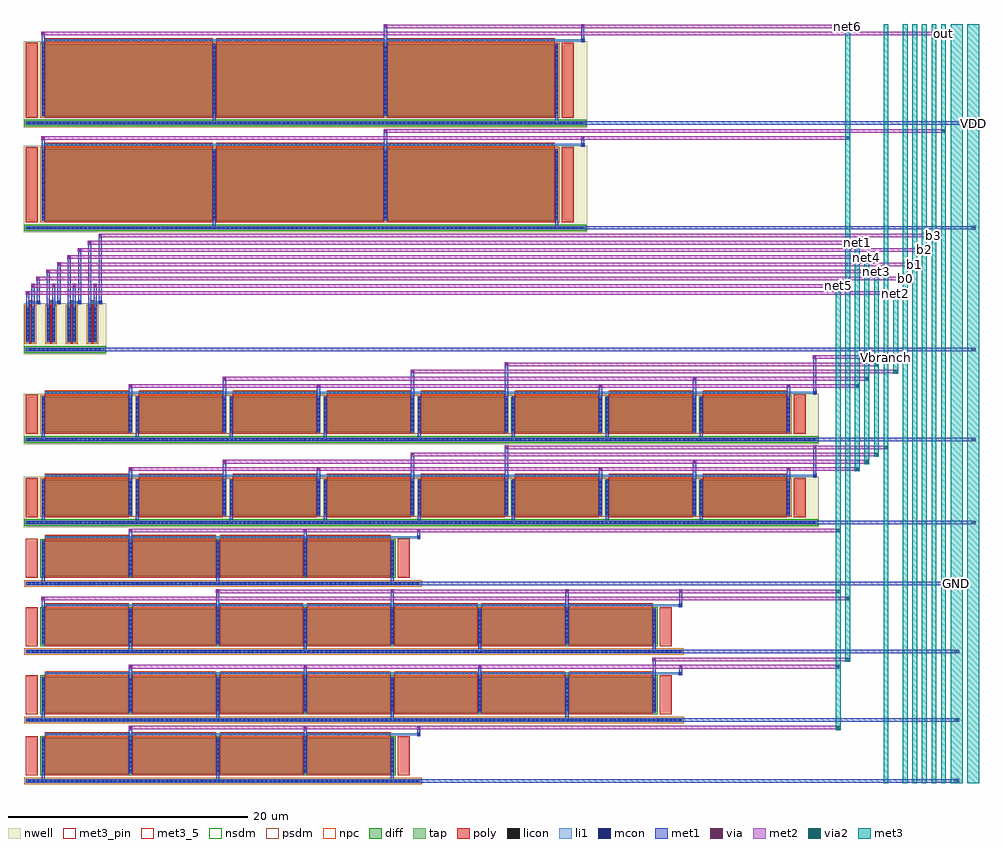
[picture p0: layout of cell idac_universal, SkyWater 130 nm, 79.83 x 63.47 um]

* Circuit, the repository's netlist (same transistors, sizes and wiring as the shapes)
* NGSPICE file created from idac_universal.ext - technology: sky130A

.subckt idac_universal VDD b1 b3 b2 b0 Vbranch GND out
X0 net6 net6 VDD VDD sky130_fd_pr__pfet_01v8 ad=0.87 pd=6.29 as=0.87 ps=6.29 w=6 l=14
X1 net5 net5 GND GND sky130_fd_pr__nfet_01v8 ad=0.435 pd=3.29 as=0.87 ps=6.58 w=3 l=7
X2 net5 net5 GND GND sky130_fd_pr__nfet_01v8 ad=0.435 pd=3.29 as=0.435 ps=3.29 w=3 l=7
X3 GND net5 net5 GND sky130_fd_pr__nfet_01v8 ad=0.435 pd=3.29 as=0.435 ps=3.29 w=3 l=7
X4 GND net5 net5 GND sky130_fd_pr__nfet_01v8 ad=0.87 pd=6.58 as=0.435 ps=3.29 w=3 l=7
X5 net5 net5 GND GND sky130_fd_pr__nfet_01v8 ad=0.435 pd=3.29 as=0.435 ps=3.29 w=3 l=7
X6 GND net5 net5 GND sky130_fd_pr__nfet_01v8 ad=0.87 pd=6.58 as=0.435 ps=3.29 w=3 l=7
X7 net1 Vbranch VDD VDD sky130_fd_pr__pfet_01v8 ad=0.87 pd=6.58 as=0.87 ps=6.58 w=3 l=7
X8 net3 Vbranch VDD VDD sky130_fd_pr__pfet_01v8 ad=0.87 pd=6.58 as=0.87 ps=6.58 w=3 l=7
X9 net1 Vbranch VDD VDD sky130_fd_pr__pfet_01v8 ad=0.87 pd=6.58 as=0.87 ps=6.58 w=3 l=7
X10 net5 net5 GND GND sky130_fd_pr__nfet_01v8 ad=0.435 pd=3.29 as=0.435 ps=3.29 w=3 l=7
X11 net5 net5 GND GND sky130_fd_pr__nfet_01v8 ad=0.435 pd=3.29 as=0.435 ps=3.29 w=3 l=7
X12 net5 b2 net4 VDD sky130_fd_pr__pfet_01v8 ad=0.87 pd=6.58 as=0.87 ps=6.58 w=3 l=0.15
X13 net1 Vbranch VDD VDD sky130_fd_pr__pfet_01v8 ad=0.87 pd=6.58 as=0.87 ps=6.58 w=3 l=7
X14 net1 Vbranch VDD VDD sky130_fd_pr__pfet_01v8 ad=0.87 pd=6.58 as=0.87 ps=6.58 w=3 l=7
X15 out net6 VDD VDD sky130_fd_pr__pfet_01v8 ad=0.87 pd=6.29 as=0.87 ps=6.29 w=6 l=14
X16 GND net5 net5 GND sky130_fd_pr__nfet_01v8 ad=0.435 pd=3.29 as=0.435 ps=3.29 w=3 l=7
X17 GND net5 net5 GND sky130_fd_pr__nfet_01v8 ad=0.435 pd=3.29 as=0.435 ps=3.29 w=3 l=7
X18 net6 net5 GND GND sky130_fd_pr__nfet_01v8 ad=0.87 pd=6.58 as=0.435 ps=3.29 w=3 l=7
X19 net1 Vbranch VDD VDD sky130_fd_pr__pfet_01v8 ad=0.87 pd=6.58 as=0.87 ps=6.58 w=3 l=7
X20 net5 net5 GND GND sky130_fd_pr__nfet_01v8 ad=0.435 pd=3.29 as=0.435 ps=3.29 w=3 l=7
X21 net3 Vbranch VDD VDD sky130_fd_pr__pfet_01v8 ad=0.87 pd=6.58 as=0.87 ps=6.58 w=3 l=7
X22 net1 Vbranch VDD VDD sky130_fd_pr__pfet_01v8 ad=0.87 pd=6.58 as=0.87 ps=6.58 w=3 l=7
X23 net5 b1 net3 VDD sky130_fd_pr__pfet_01v8 ad=0.87 pd=6.58 as=0.87 ps=6.58 w=3 l=0.15
X24 net4 Vbranch VDD VDD sky130_fd_pr__pfet_01v8 ad=0.87 pd=6.58 as=0.87 ps=6.58 w=3 l=7
X25 net4 Vbranch VDD VDD sky130_fd_pr__pfet_01v8 ad=0.87 pd=6.58 as=0.87 ps=6.58 w=3 l=7
X26 GND net5 net5 GND sky130_fd_pr__nfet_01v8 ad=0.435 pd=3.29 as=0.435 ps=3.29 w=3 l=7
X27 net1 Vbranch VDD VDD sky130_fd_pr__pfet_01v8 ad=0.87 pd=6.58 as=0.87 ps=6.58 w=3 l=7
X28 GND net5 net6 GND sky130_fd_pr__nfet_01v8 ad=0.435 pd=3.29 as=0.87 ps=6.58 w=3 l=7
X29 GND net5 net5 GND sky130_fd_pr__nfet_01v8 ad=0.435 pd=3.29 as=0.435 ps=3.29 w=3 l=7
X30 net5 b0 net2 VDD sky130_fd_pr__pfet_01v8 ad=0.87 pd=6.58 as=0.87 ps=6.58 w=3 l=0.15
X31 VDD net6 net6 VDD sky130_fd_pr__pfet_01v8 ad=1.74 pd=12.58 as=0.87 ps=6.29 w=6 l=14
X32 VDD net6 net6 VDD sky130_fd_pr__pfet_01v8 ad=0.87 pd=6.29 as=1.74 ps=12.58 w=6 l=14
X33 Vbranch Vbranch VDD VDD sky130_fd_pr__pfet_01v8 ad=0.87 pd=6.58 as=0.87 ps=6.58 w=3 l=7
X34 GND net5 net5 GND sky130_fd_pr__nfet_01v8 ad=0.87 pd=6.58 as=0.435 ps=3.29 w=3 l=7
X35 net5 net5 GND GND sky130_fd_pr__nfet_01v8 ad=0.435 pd=3.29 as=0.87 ps=6.58 w=3 l=7
X36 GND net5 net5 GND sky130_fd_pr__nfet_01v8 ad=0.435 pd=3.29 as=0.435 ps=3.29 w=3 l=7
X37 net4 Vbranch VDD VDD sky130_fd_pr__pfet_01v8 ad=0.87 pd=6.58 as=0.87 ps=6.58 w=3 l=7
X38 net4 Vbranch VDD VDD sky130_fd_pr__pfet_01v8 ad=0.87 pd=6.58 as=0.87 ps=6.58 w=3 l=7
X39 net5 b3 net1 VDD sky130_fd_pr__pfet_01v8 ad=0.87 pd=6.58 as=0.87 ps=6.58 w=3 l=0.15
X40 net5 net5 GND GND sky130_fd_pr__nfet_01v8 ad=0.435 pd=3.29 as=0.87 ps=6.58 w=3 l=7
X41 net5 net5 GND GND sky130_fd_pr__nfet_01v8 ad=0.435 pd=3.29 as=0.435 ps=3.29 w=3 l=7
X42 net5 net5 GND GND sky130_fd_pr__nfet_01v8 ad=0.435 pd=3.29 as=0.435 ps=3.29 w=3 l=7
X43 net2 Vbranch VDD VDD sky130_fd_pr__pfet_01v8 ad=0.87 pd=6.58 as=0.87 ps=6.58 w=3 l=7
X44 VDD net6 out VDD sky130_fd_pr__pfet_01v8 ad=0.87 pd=6.29 as=1.74 ps=12.58 w=6 l=14
X45 VDD net6 out VDD sky130_fd_pr__pfet_01v8 ad=1.74 pd=12.58 as=0.87 ps=6.29 w=6 l=14
X46 net1 Vbranch VDD VDD sky130_fd_pr__pfet_01v8 ad=0.87 pd=6.58 as=0.87 ps=6.58 w=3 l=7
X47 GND net5 net5 GND sky130_fd_pr__nfet_01v8 ad=0.435 pd=3.29 as=0.435 ps=3.29 w=3 l=7
.ends

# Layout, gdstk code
import gdstk
lib = gdstk.Library(unit=1e-6, precision=1e-09)
def R(c, l, rs):  # rectangles x0, y0, x1, y1
    for r in rs: c.add(gdstk.rectangle(r[:2], r[2:], *l))
def A(c, l, x, y, w, h, nx, ny, dx, dy):  # array of equal rectangles
    R(c, l, [(x+i*dx, y+j*dy, x+i*dx+w, y+j*dy+h) for i in range(nx) for j in range(ny)])
nwell = (64, 20)
diff = (65, 20)
tap = (65, 44)
poly = (66, 20)
licon = (66, 44)
li1 = (67, 20)
mcon = (67, 44)
met1 = (68, 20)
via = (68, 44)
met2 = (69, 20)
via2 = (69, 44)
met3_5 = (70, 5)
met3_pin = (70, 16)
met3 = (70, 20)
nsdm = (93, 44)
psdm = (94, 20)
npc = (95, 20)

idac_universal = lib.new_cell('idac_universal')
R(idac_universal, nwell, [(-0.2,21.765,66.23,26.005), (-0.2,28.7,66.23,32.94), (-0.2,36.235,6.72,40.475), (-0.2,46.39,46.86,53.63), (-0.2,55.125,46.86,62.365)])
A(idac_universal, diff, 1.3, 22.755, 7.58, 3, 8, 2, 7.85, 6.935)
A(idac_universal, diff, 0, 37.225, 0.73, 3, 4, 1, 1.73, 0)
R(idac_universal, diff, [(1.3,1.195,30.75,4.195), (1.3,6.285,52.62,9.285), (1.3,11.975,52.62,14.975), (1.3,17.665,30.75,20.665), (1.3,47.38,44.46,53.38), (1.3,56.115,44.46,62.115)])
R(idac_universal, tap, [(0,0.455,32.95,0.745), (0,5.545,54.82,5.835), (0,11.235,54.82,11.525), (0,16.925,32.95,17.215), (0,22.015,66.03,22.305), (0,28.95,66.03,29.24), (0,36.485,6.52,36.775), (0,46.64,46.66,46.93), (0,55.375,46.66,55.665)])
A(idac_universal, poly, 1.59, 1.065, 7, 3.57, 4, 2, 7.29, 16.47)
A(idac_universal, poly, 0, 6.155, 1, 3.26, 1, 3, 0, 5.69)
A(idac_universal, poly, 1.59, 6.155, 7, 3.57, 7, 2, 7.29, 5.69)
A(idac_universal, poly, 1.59, 22.625, 7, 3.615, 8, 2, 7.85, 6.935)
A(idac_universal, poly, 0.29, 37.095, 0.15, 3.285, 4, 1, 1.73, 0)
A(idac_universal, poly, 0.23, 40.38, 0.27, 0.33, 4, 1, 1.73, 0)
A(idac_universal, poly, 1.59, 47.25, 14, 6.615, 3, 2, 14.29, 8.735)
R(idac_universal, poly, [(0,1.065,1,4.325), (31.05,1.065,32.05,4.325), (52.92,6.155,53.92,9.415), (52.92,11.845,53.92,15.105), (31.05,17.535,32.05,20.795), (0,22.625,1,25.885), (64.13,22.625,65.13,25.885), (0,29.56,1,32.82), (64.13,29.56,65.13,32.82), (0,47.25,1,53.51), (44.76,47.25,45.76,53.51), (0,55.985,1,62.245), (44.76,55.985,45.76,62.245)])
A(idac_universal, licon, 0.24, 0.515, 0.17, 0.17, 96, 2, 0.34, 16.47)
A(idac_universal, licon, 1.36, 1.42, 0.17, 0.17, 5, 8, 7.29, 0.34)
A(idac_universal, licon, 1.775, 4.385, 0.17, 0.17, 20, 2, 0.34, 5.09)
A(idac_universal, licon, 9.065, 4.385, 0.17, 0.17, 20, 2, 0.34, 5.09)
A(idac_universal, licon, 16.355, 4.385, 0.17, 0.17, 20, 2, 0.34, 5.09)
A(idac_universal, licon, 23.645, 4.385, 0.17, 0.17, 20, 2, 0.34, 5.09)
A(idac_universal, licon, 0.125, 5.605, 0.17, 0.17, 161, 2, 0.34, 5.69)
A(idac_universal, licon, 1.36, 6.51, 0.17, 0.17, 8, 8, 7.29, 0.34)
A(idac_universal, licon, 30.935, 9.475, 0.17, 0.17, 20, 2, 0.34, 5.69)
A(idac_universal, licon, 38.225, 9.475, 0.17, 0.17, 20, 2, 0.34, 5.69)
A(idac_universal, licon, 45.515, 9.475, 0.17, 0.17, 20, 2, 0.34, 5.69)
A(idac_universal, licon, 1.36, 12.2, 0.17, 0.17, 8, 8, 7.29, 0.34)
A(idac_universal, licon, 1.775, 15.165, 0.17, 0.17, 20, 2, 0.34, 5.69)
A(idac_universal, licon, 9.065, 15.165, 0.17, 0.17, 20, 2, 0.34, 5.69)
A(idac_universal, licon, 16.355, 15.165, 0.17, 0.17, 20, 2, 0.34, 5.69)
A(idac_universal, licon, 23.645, 15.165, 0.17, 0.17, 20, 2, 0.34, 5.69)
A(idac_universal, licon, 1.36, 17.89, 0.17, 0.17, 5, 8, 7.29, 0.34)
A(idac_universal, licon, 0.12, 22.075, 0.17, 0.17, 194, 2, 0.34, 6.935)
A(idac_universal, licon, 1.36, 22.98, 0.17, 0.17, 1, 8, 0, 0.34)
A(idac_universal, licon, 8.65, 22.98, 0.17, 0.17, 1, 8, 0, 0.34)
A(idac_universal, licon, 9.21, 22.98, 0.17, 0.17, 1, 8, 0, 0.34)
A(idac_universal, licon, 16.5, 22.98, 0.17, 0.17, 1, 8, 0, 0.34)
A(idac_universal, licon, 17.06, 22.98, 0.17, 0.17, 1, 8, 0, 0.34)
A(idac_universal, licon, 24.35, 22.98, 0.17, 0.17, 1, 8, 0, 0.34)
A(idac_universal, licon, 24.91, 22.98, 0.17, 0.17, 1, 8, 0, 0.34)
A(idac_universal, licon, 32.2, 22.98, 0.17, 0.17, 1, 8, 0, 0.34)
A(idac_universal, licon, 32.76, 22.98, 0.17, 0.17, 1, 8, 0, 0.34)
A(idac_universal, licon, 40.05, 22.98, 0.17, 0.17, 1, 8, 0, 0.34)
A(idac_universal, licon, 40.61, 22.98, 0.17, 0.17, 1, 8, 0, 0.34)
A(idac_universal, licon, 47.9, 22.98, 0.17, 0.17, 1, 8, 0, 0.34)
A(idac_universal, licon, 48.46, 22.98, 0.17, 0.17, 1, 8, 0, 0.34)
A(idac_universal, licon, 55.75, 22.98, 0.17, 0.17, 1, 8, 0, 0.34)
A(idac_universal, licon, 56.31, 22.98, 0.17, 0.17, 1, 8, 0, 0.34)
A(idac_universal, licon, 63.6, 22.98, 0.17, 0.17, 1, 8, 0, 0.34)
A(idac_universal, licon, 1.775, 25.99, 0.17, 0.17, 20, 2, 0.34, 6.935)
A(idac_universal, licon, 9.625, 25.99, 0.17, 0.17, 20, 2, 0.34, 6.935)
A(idac_universal, licon, 17.475, 25.99, 0.17, 0.17, 20, 2, 0.34, 6.935)
A(idac_universal, licon, 25.325, 25.99, 0.17, 0.17, 20, 2, 0.34, 6.935)
A(idac_universal, licon, 33.175, 25.99, 0.17, 0.17, 20, 2, 0.34, 6.935)
A(idac_universal, licon, 41.025, 25.99, 0.17, 0.17, 20, 2, 0.34, 6.935)
A(idac_universal, licon, 48.875, 25.99, 0.17, 0.17, 20, 2, 0.34, 6.935)
A(idac_universal, licon, 56.725, 25.99, 0.17, 0.17, 20, 2, 0.34, 6.935)
A(idac_universal, licon, 1.36, 29.915, 0.17, 0.17, 1, 8, 0, 0.34)
A(idac_universal, licon, 8.65, 29.915, 0.17, 0.17, 1, 8, 0, 0.34)
A(idac_universal, licon, 9.21, 29.915, 0.17, 0.17, 1, 8, 0, 0.34)
A(idac_universal, licon, 16.5, 29.915, 0.17, 0.17, 1, 8, 0, 0.34)
A(idac_universal, licon, 17.06, 29.915, 0.17, 0.17, 1, 8, 0, 0.34)
A(idac_universal, licon, 24.35, 29.915, 0.17, 0.17, 1, 8, 0, 0.34)
A(idac_universal, licon, 24.91, 29.915, 0.17, 0.17, 1, 8, 0, 0.34)
A(idac_universal, licon, 32.2, 29.915, 0.17, 0.17, 1, 8, 0, 0.34)
A(idac_universal, licon, 32.76, 29.915, 0.17, 0.17, 1, 8, 0, 0.34)
A(idac_universal, licon, 40.05, 29.915, 0.17, 0.17, 1, 8, 0, 0.34)
A(idac_universal, licon, 40.61, 29.915, 0.17, 0.17, 1, 8, 0, 0.34)
A(idac_universal, licon, 47.9, 29.915, 0.17, 0.17, 1, 8, 0, 0.34)
A(idac_universal, licon, 48.46, 29.915, 0.17, 0.17, 1, 8, 0, 0.34)
A(idac_universal, licon, 55.75, 29.915, 0.17, 0.17, 1, 8, 0, 0.34)
A(idac_universal, licon, 56.31, 29.915, 0.17, 0.17, 1, 8, 0, 0.34)
A(idac_universal, licon, 63.6, 29.915, 0.17, 0.17, 1, 8, 0, 0.34)
A(idac_universal, licon, 0.285, 36.545, 0.17, 0.17, 18, 1, 0.34, 0)
A(idac_universal, licon, 0.06, 37.45, 0.17, 0.17, 1, 8, 0, 0.34)
A(idac_universal, licon, 0.5, 37.45, 0.17, 0.17, 1, 8, 0, 0.34)
A(idac_universal, licon, 1.79, 37.45, 0.17, 0.17, 1, 8, 0, 0.34)
A(idac_universal, licon, 2.23, 37.45, 0.17, 0.17, 1, 8, 0, 0.34)
A(idac_universal, licon, 3.52, 37.45, 0.17, 0.17, 1, 8, 0, 0.34)
A(idac_universal, licon, 3.96, 37.45, 0.17, 0.17, 1, 8, 0, 0.34)
A(idac_universal, licon, 5.25, 37.45, 0.17, 0.17, 1, 8, 0, 0.34)
A(idac_universal, licon, 5.69, 37.45, 0.17, 0.17, 1, 8, 0, 0.34)
A(idac_universal, licon, 0.28, 40.46, 0.17, 0.17, 4, 1, 1.73, 0)
A(idac_universal, licon, 0.125, 46.7, 0.17, 0.17, 137, 2, 0.34, 8.735)
A(idac_universal, licon, 1.36, 47.575, 0.17, 0.17, 4, 17, 14.29, 0.34)
A(idac_universal, licon, 1.705, 53.615, 0.17, 0.17, 41, 2, 0.34, 8.735)
A(idac_universal, licon, 15.995, 53.615, 0.17, 0.17, 41, 2, 0.34, 8.735)
A(idac_universal, licon, 30.285, 53.615, 0.17, 0.17, 41, 2, 0.34, 8.735)
A(idac_universal, licon, 1.36, 56.31, 0.17, 0.17, 4, 17, 14.29, 0.34)
A(idac_universal, li1, 1.36, 1.175, 0.17, 3.04, 5, 2, 7.29, 16.47)
A(idac_universal, li1, 1.36, 6.265, 0.17, 3.04, 8, 2, 7.29, 5.69)
A(idac_universal, li1, 0.945, 40.38, 0.17, 0.08, 4, 2, 1.73, 0.25)
A(idac_universal, li1, 0.2, 40.46, 0.915, 0.17, 4, 1, 1.73, 0)
A(idac_universal, li1, 1.36, 47.36, 0.17, 6.04, 4, 2, 14.29, 8.735)
R(idac_universal, li1, [(0,0.515,32.95,0.685), (32.72,4.305,32.89,4.385), (1.59,4.385,32.95,4.555), (32.72,4.555,32.89,4.635), (0,5.605,54.82,5.775), (54.59,9.395,54.76,9.475), (1.59,9.475,54.82,9.645), (54.59,9.645,54.76,9.725), (0,11.295,54.82,11.465), (54.59,15.085,54.76,15.165), (1.59,15.165,54.82,15.335), (54.59,15.335,54.76,15.415), (0,16.985,32.95,17.155), (32.72,20.775,32.89,20.855), (1.59,20.855,32.95,21.025), (32.72,21.025,32.89,21.105), (0,22.075,66.03,22.245), (1.36,22.735,1.53,25.775), (8.65,22.735,8.82,25.775), (9.21,22.735,9.38,25.775), (16.5,22.735,16.67,25.775), (17.06,22.735,17.23,25.775), (24.35,22.735,24.52,25.775), (24.91,22.735,25.08,25.775), (32.2,22.735,32.37,25.775), (32.76,22.735,32.93,25.775), (40.05,22.735,40.22,25.775), (40.61,22.735,40.78,25.775), (47.9,22.735,48.07,25.775), (48.46,22.735,48.63,25.775), (55.75,22.735,55.92,25.775), (56.31,22.735,56.48,25.775), (63.6,22.735,63.77,25.775), (65.8,25.91,65.97,25.99), (1.59,25.99,66.03,26.16), (65.8,26.16,65.97,26.24), (0,29.01,66.03,29.18), (1.36,29.67,1.53,32.71), (8.65,29.67,8.82,32.71), (9.21,29.67,9.38,32.71), (16.5,29.67,16.67,32.71), (17.06,29.67,17.23,32.71), (24.35,29.67,24.52,32.71), (24.91,29.67,25.08,32.71), (32.2,29.67,32.37,32.71), (32.76,29.67,32.93,32.71), (40.05,29.67,40.22,32.71), (40.61,29.67,40.78,32.71), (47.9,29.67,48.07,32.71), (48.46,29.67,48.63,32.71), (55.75,29.67,55.92,32.71), (56.31,29.67,56.48,32.71), (63.6,29.67,63.77,32.71), (65.8,32.845,65.97,32.925), (1.59,32.925,66.03,33.095), (65.8,33.095,65.97,33.175), (0,36.545,6.52,36.715), (0.06,37.205,0.23,40.245), (0.5,37.205,0.67,40.245), (1.79,37.205,1.96,40.245), (2.23,37.205,2.4,40.245), (3.52,37.205,3.69,40.245), (3.96,37.205,4.13,40.245), (5.25,37.205,5.42,40.245), (5.69,37.205,5.86,40.245), (0,46.7,46.66,46.87), (46.43,53.535,46.6,53.615), (1.59,53.615,46.66,53.785), (46.43,53.785,46.6,53.865), (0,55.435,46.66,55.605), (46.43,62.27,46.6,62.35), (1.59,62.35,46.66,62.52), (46.43,62.52,46.6,62.6)])
A(idac_universal, mcon, 0.19, 0.515, 0.17, 0.17, 91, 2, 0.36, 16.47)
A(idac_universal, mcon, 1.36, 1.35, 0.17, 0.17, 5, 8, 7.29, 0.36)
A(idac_universal, mcon, 0.145, 5.605, 0.17, 0.17, 152, 2, 0.36, 5.69)
A(idac_universal, mcon, 1.36, 6.44, 0.17, 0.17, 8, 8, 7.29, 0.36)
A(idac_universal, mcon, 1.36, 12.13, 0.17, 0.17, 8, 8, 7.29, 0.36)
A(idac_universal, mcon, 1.36, 17.82, 0.17, 0.17, 5, 8, 7.29, 0.36)
A(idac_universal, mcon, 0.17, 22.075, 0.17, 0.17, 183, 2, 0.36, 6.935)
A(idac_universal, mcon, 1.36, 22.91, 0.17, 0.17, 1, 8, 0, 0.36)
A(idac_universal, mcon, 8.65, 22.91, 0.17, 0.17, 1, 8, 0, 0.36)
A(idac_universal, mcon, 9.21, 22.91, 0.17, 0.17, 1, 8, 0, 0.36)
A(idac_universal, mcon, 16.5, 22.91, 0.17, 0.17, 1, 8, 0, 0.36)
A(idac_universal, mcon, 17.06, 22.91, 0.17, 0.17, 1, 8, 0, 0.36)
A(idac_universal, mcon, 24.35, 22.91, 0.17, 0.17, 1, 8, 0, 0.36)
A(idac_universal, mcon, 24.91, 22.91, 0.17, 0.17, 1, 8, 0, 0.36)
A(idac_universal, mcon, 32.2, 22.91, 0.17, 0.17, 1, 8, 0, 0.36)
A(idac_universal, mcon, 32.76, 22.91, 0.17, 0.17, 1, 8, 0, 0.36)
A(idac_universal, mcon, 40.05, 22.91, 0.17, 0.17, 1, 8, 0, 0.36)
A(idac_universal, mcon, 40.61, 22.91, 0.17, 0.17, 1, 8, 0, 0.36)
A(idac_universal, mcon, 47.9, 22.91, 0.17, 0.17, 1, 8, 0, 0.36)
A(idac_universal, mcon, 48.46, 22.91, 0.17, 0.17, 1, 8, 0, 0.36)
A(idac_universal, mcon, 55.75, 22.91, 0.17, 0.17, 1, 8, 0, 0.36)
A(idac_universal, mcon, 56.31, 22.91, 0.17, 0.17, 1, 8, 0, 0.36)
A(idac_universal, mcon, 63.6, 22.91, 0.17, 0.17, 1, 8, 0, 0.36)
A(idac_universal, mcon, 1.36, 29.845, 0.17, 0.17, 1, 8, 0, 0.36)
A(idac_universal, mcon, 8.65, 29.845, 0.17, 0.17, 1, 8, 0, 0.36)
A(idac_universal, mcon, 9.21, 29.845, 0.17, 0.17, 1, 8, 0, 0.36)
A(idac_universal, mcon, 16.5, 29.845, 0.17, 0.17, 1, 8, 0, 0.36)
A(idac_universal, mcon, 17.06, 29.845, 0.17, 0.17, 1, 8, 0, 0.36)
A(idac_universal, mcon, 24.35, 29.845, 0.17, 0.17, 1, 8, 0, 0.36)
A(idac_universal, mcon, 24.91, 29.845, 0.17, 0.17, 1, 8, 0, 0.36)
A(idac_universal, mcon, 32.2, 29.845, 0.17, 0.17, 1, 8, 0, 0.36)
A(idac_universal, mcon, 32.76, 29.845, 0.17, 0.17, 1, 8, 0, 0.36)
A(idac_universal, mcon, 40.05, 29.845, 0.17, 0.17, 1, 8, 0, 0.36)
A(idac_universal, mcon, 40.61, 29.845, 0.17, 0.17, 1, 8, 0, 0.36)
A(idac_universal, mcon, 47.9, 29.845, 0.17, 0.17, 1, 8, 0, 0.36)
A(idac_universal, mcon, 48.46, 29.845, 0.17, 0.17, 1, 8, 0, 0.36)
A(idac_universal, mcon, 55.75, 29.845, 0.17, 0.17, 1, 8, 0, 0.36)
A(idac_universal, mcon, 56.31, 29.845, 0.17, 0.17, 1, 8, 0, 0.36)
A(idac_universal, mcon, 63.6, 29.845, 0.17, 0.17, 1, 8, 0, 0.36)
A(idac_universal, mcon, 0.295, 36.545, 0.17, 0.17, 17, 1, 0.36, 0)
A(idac_universal, mcon, 0.06, 37.38, 0.17, 0.17, 1, 8, 0, 0.36)
A(idac_universal, mcon, 0.5, 37.38, 0.17, 0.17, 1, 8, 0, 0.36)
A(idac_universal, mcon, 1.79, 37.38, 0.17, 0.17, 1, 8, 0, 0.36)
A(idac_universal, mcon, 2.23, 37.38, 0.17, 0.17, 1, 8, 0, 0.36)
A(idac_universal, mcon, 3.52, 37.38, 0.17, 0.17, 1, 8, 0, 0.36)
A(idac_universal, mcon, 3.96, 37.38, 0.17, 0.17, 1, 8, 0, 0.36)
A(idac_universal, mcon, 5.25, 37.38, 0.17, 0.17, 1, 8, 0, 0.36)
A(idac_universal, mcon, 5.69, 37.38, 0.17, 0.17, 1, 8, 0, 0.36)
A(idac_universal, mcon, 0.945, 40.46, 0.17, 0.17, 4, 1, 1.73, 0)
A(idac_universal, mcon, 0.205, 46.7, 0.17, 0.17, 129, 2, 0.36, 8.735)
A(idac_universal, mcon, 1.36, 47.595, 0.17, 0.17, 4, 16, 14.29, 0.36)
A(idac_universal, mcon, 1.36, 56.33, 0.17, 0.17, 4, 16, 14.29, 0.36)
R(idac_universal, mcon, [(32.72,4.385,32.89,4.555), (54.59,9.475,54.76,9.645), (54.59,15.165,54.76,15.335), (32.72,20.855,32.89,21.025), (65.8,25.99,65.97,26.16), (65.8,32.925,65.97,33.095), (46.43,53.615,46.6,53.785), (46.43,62.35,46.6,62.52)])
A(idac_universal, met1, 1.315, 0.745, 0.26, 3.45, 3, 2, 14.58, 16.47)
A(idac_universal, met1, 0, 5.545, 77.93, 0.29, 1, 3, 0, 5.69)
A(idac_universal, met1, 1.315, 5.835, 0.26, 3.45, 4, 1, 14.58, 0)
A(idac_universal, met1, 8.605, 6.285, 0.26, 4, 3, 1, 14.58, 0)
A(idac_universal, met1, 8.605, 11.525, 0.26, 3.45, 4, 1, 14.58, 0)
A(idac_universal, met1, 15.895, 11.975, 0.26, 4.6, 3, 1, 14.58, 0)
A(idac_universal, met1, 1.315, 22.305, 0.26, 3.45, 8, 2, 7.85, 6.935)
A(idac_universal, met1, 0.455, 37.225, 0.26, 4.865, 4, 1, 1.73, 0)
A(idac_universal, met1, 0.885, 40.4, 0.29, 0.29, 4, 1, 1.73, 0)
R(idac_universal, met1, [(0,0.455,77.93,0.745), (8.605,1.195,8.865,5.195), (23.185,1.195,23.445,5.195), (32.66,4.325,32.95,4.615), (32.675,4.615,32.935,5.195), (52.345,6.285,52.605,10.885), (54.53,9.415,54.82,9.705), (54.545,9.705,54.805,10.285), (1.315,11.975,1.575,15.975), (54.53,15.105,54.82,15.395), (54.545,15.395,54.805,16.575), (8.605,17.665,8.865,21.665), (23.185,17.665,23.445,21.665), (32.66,20.795,32.95,21.085), (32.675,21.085,32.935,21.665), (0,22.015,79.33,22.305), (8.605,22.755,8.865,26.8), (16.455,22.755,16.715,27.4), (24.305,22.755,24.565,26.8), (32.155,22.755,32.415,28), (40.005,22.755,40.265,28.6), (47.855,22.755,48.115,26.8), (55.705,22.755,55.965,27.4), (63.555,22.755,63.815,26.8), (65.74,25.93,66.03,26.22), (65.755,26.22,66.015,28.6), (0,28.95,79.33,29.24), (8.605,29.69,8.865,33.735), (16.455,29.69,16.715,34.335), (24.305,29.69,24.565,33.735), (32.155,29.69,32.415,34.935), (40.005,29.69,40.265,35.535), (47.855,29.69,48.115,33.735), (55.705,29.69,55.965,34.335), (63.555,29.69,63.815,33.735), (65.74,32.865,66.03,33.155), (65.755,33.155,66.015,36.135), (0,36.485,79.33,36.775), (0.015,37.225,0.275,41.49), (1.745,37.225,2.005,43.29), (3.475,37.225,3.735,44.49), (5.205,37.225,5.465,45.69), (0.9,40.69,1.16,42.69), (2.63,40.69,2.89,43.89), (4.36,40.69,4.62,45.09), (6.09,40.69,6.35,46.29), (0,46.64,79.33,46.93), (15.605,46.93,15.865,53.38), (44.185,46.93,44.445,53.38), (1.315,47.38,1.575,54.425), (29.895,47.38,30.155,55.025), (46.37,53.555,46.66,53.845), (46.385,53.845,46.645,54.425), (0,55.375,79.33,55.665), (15.605,55.665,15.865,62.115), (44.185,55.665,44.445,62.115), (1.315,56.115,1.575,63.16), (29.895,56.115,30.155,63.76), (46.37,62.29,46.66,62.58), (46.385,62.58,46.645,63.76)])
A(idac_universal, via, 77.655, 5.615, 0.15, 0.15, 1, 3, 0, 5.69)
A(idac_universal, via, 8.66, 10.05, 0.15, 0.15, 3, 1, 14.58, 0)
A(idac_universal, via, 15.95, 16.34, 0.15, 0.15, 3, 1, 14.58, 0)
A(idac_universal, via, 0.51, 41.855, 0.15, 0.15, 4, 1, 1.73, 0)
R(idac_universal, via, [(77.655,0.525,77.805,0.675), (8.66,4.96,8.81,5.11), (23.24,4.96,23.39,5.11), (32.73,4.96,32.88,5.11), (54.6,10.05,54.75,10.2), (52.4,10.65,52.55,10.8), (1.37,15.74,1.52,15.89), (54.6,16.34,54.75,16.49), (8.66,21.43,8.81,21.58), (23.24,21.43,23.39,21.58), (32.73,21.43,32.88,21.58), (79.055,22.085,79.205,22.235), (8.66,26.565,8.81,26.715), (24.36,26.565,24.51,26.715), (47.91,26.565,48.06,26.715), (63.61,26.565,63.76,26.715), (16.51,27.165,16.66,27.315), (55.76,27.165,55.91,27.315), (32.21,27.765,32.36,27.915), (40.06,28.365,40.21,28.515), (65.81,28.365,65.96,28.515), (79.055,29.02,79.205,29.17), (8.66,33.5,8.81,33.65), (24.36,33.5,24.51,33.65), (47.91,33.5,48.06,33.65), (63.61,33.5,63.76,33.65), (16.51,34.1,16.66,34.25), (55.76,34.1,55.91,34.25), (32.21,34.7,32.36,34.85), (40.06,35.3,40.21,35.45), (65.81,35.9,65.96,36.05), (79.055,36.555,79.205,36.705), (0.07,41.255,0.22,41.405), (0.955,42.455,1.105,42.605), (1.8,43.055,1.95,43.205), (2.685,43.655,2.835,43.805), (3.53,44.255,3.68,44.405), (4.415,44.855,4.565,45.005), (5.26,45.455,5.41,45.605), (6.145,46.055,6.295,46.205), (79.055,46.71,79.205,46.86), (1.37,54.19,1.52,54.34), (46.44,54.19,46.59,54.34), (29.95,54.79,30.1,54.94), (79.055,55.445,79.205,55.595), (1.37,62.925,1.52,63.075), (29.95,63.525,30.1,63.675), (46.44,63.525,46.59,63.675)])
A(idac_universal, met2, 77.545, 5.54, 0.37, 0.3, 1, 3, 0, 5.69)
A(idac_universal, met2, 8.585, 9.965, 0.3, 0.01, 3, 2, 14.58, 0.31)
A(idac_universal, met2, 15.875, 16.255, 0.3, 0.01, 3, 2, 14.58, 0.31)
A(idac_universal, met2, 0.435, 41.77, 0.3, 0.01, 4, 2, 1.73, 0.31)
R(idac_universal, met2, [(77.545,0.45,77.915,0.75), (8.585,4.875,8.885,4.885), (23.165,4.875,23.465,4.885), (32.655,4.875,32.955,4.885), (8.575,4.885,68.03,5.185), (8.585,5.185,8.885,5.195), (23.165,5.185,23.465,5.195), (32.655,5.185,32.955,5.195), (54.525,9.965,54.825,9.975), (8.575,9.975,68.03,10.275), (54.525,10.275,54.825,10.285), (52.325,10.565,52.625,10.575), (52.315,10.575,68.83,10.875), (52.325,10.875,52.625,10.885), (1.295,15.655,1.595,15.665), (1.285,15.665,68.83,15.965), (1.295,15.965,1.595,15.975), (54.525,16.255,54.825,16.265), (15.865,16.265,68.03,16.565), (54.525,16.565,54.825,16.575), (8.585,21.345,8.885,21.355), (23.165,21.345,23.465,21.355), (32.655,21.345,32.955,21.355), (8.575,21.355,68.03,21.655), (8.585,21.655,8.885,21.665), (23.165,21.655,23.465,21.665), (32.655,21.655,32.955,21.665), (78.945,22.01,79.315,22.31), (8.585,26.48,8.885,26.49), (24.285,26.48,24.585,26.49), (47.835,26.48,48.135,26.49), (63.535,26.48,63.835,26.49), (8.575,26.49,69.63,26.79), (8.585,26.79,8.885,26.8), (24.285,26.79,24.585,26.8), (47.835,26.79,48.135,26.8), (63.535,26.79,63.835,26.8), (16.435,27.08,16.735,27.09), (55.685,27.08,55.985,27.09), (16.425,27.09,70.43,27.39), (16.435,27.39,16.735,27.4), (55.685,27.39,55.985,27.4), (32.135,27.68,32.435,27.69), (32.125,27.69,71.23,27.99), (32.135,27.99,32.435,28), (39.985,28.28,40.285,28.29), (65.735,28.28,66.035,28.29), (39.975,28.29,72.03,28.59), (39.985,28.59,40.285,28.6), (65.735,28.59,66.035,28.6), (78.945,28.945,79.315,29.245), (8.585,33.415,8.885,33.425), (24.285,33.415,24.585,33.425), (47.835,33.415,48.135,33.425), (63.535,33.415,63.835,33.425), (8.575,33.425,69.63,33.725), (8.585,33.725,8.885,33.735), (24.285,33.725,24.585,33.735), (47.835,33.725,48.135,33.735), (63.535,33.725,63.835,33.735), (16.435,34.015,16.735,34.025), (55.685,34.015,55.985,34.025), (16.425,34.025,70.43,34.325), (16.435,34.325,16.735,34.335), (55.685,34.325,55.985,34.335), (32.135,34.615,32.435,34.625), (32.125,34.625,72.83,34.925), (32.135,34.925,32.435,34.935), (39.985,35.215,40.285,35.225), (39.975,35.225,71.23,35.525), (39.985,35.525,40.285,35.535), (65.735,35.815,66.035,35.825), (65.725,35.825,72.03,36.125), (65.735,36.125,66.035,36.135), (78.945,36.48,79.315,36.78), (-0.005,41.17,0.295,41.18), (-0.015,41.18,72.83,41.48), (-0.005,41.48,0.295,41.49), (0.425,41.78,68.03,42.08), (0.88,42.37,1.18,42.38), (0.87,42.38,73.63,42.68), (0.88,42.68,1.18,42.69), (1.725,42.97,2.025,42.98), (1.715,42.98,71.23,43.28), (1.725,43.28,2.025,43.29), (2.61,43.57,2.91,43.58), (2.6,43.58,74.43,43.88), (2.61,43.88,2.91,43.89), (3.455,44.17,3.755,44.18), (3.445,44.18,70.43,44.48), (3.455,44.48,3.755,44.49), (4.34,44.77,4.64,44.78), (4.33,44.78,75.23,45.08), (4.34,45.08,4.64,45.09), (5.185,45.37,5.485,45.38), (5.175,45.38,69.63,45.68), (5.185,45.68,5.485,45.69), (6.07,45.97,6.37,45.98), (6.06,45.98,76.03,46.28), (6.07,46.28,6.37,46.29), (78.945,46.635,79.315,46.935), (1.295,54.105,1.595,54.115), (46.365,54.105,46.665,54.115), (1.285,54.115,68.83,54.415), (1.295,54.415,1.595,54.425), (46.365,54.415,46.665,54.425), (29.875,54.705,30.175,54.715), (29.865,54.715,76.83,55.015), (29.875,55.015,30.175,55.025), (78.945,55.37,79.315,55.67), (1.295,62.84,1.595,62.85), (1.285,62.85,76.83,63.15), (1.295,63.15,1.595,63.16), (29.875,63.44,30.175,63.45), (46.365,63.44,46.665,63.45), (29.865,63.45,68.83,63.75), (29.875,63.75,30.175,63.76), (46.365,63.75,46.665,63.76)])
A(idac_universal, via2, 77.63, 5.59, 0.2, 0.2, 1, 3, 0, 5.69)
R(idac_universal, via2, [(77.63,0.5,77.83,0.7), (67.73,4.935,67.93,5.135), (67.73,10.025,67.93,10.225), (68.53,10.625,68.73,10.825), (68.53,15.715,68.73,15.915), (67.73,16.315,67.93,16.515), (67.73,21.405,67.93,21.605), (79.03,22.06,79.23,22.26), (69.33,26.54,69.53,26.74), (70.13,27.14,70.33,27.34), (70.93,27.74,71.13,27.94), (71.73,28.34,71.93,28.54), (79.03,28.995,79.23,29.195), (69.33,33.475,69.53,33.675), (70.13,34.075,70.33,34.275), (72.53,34.675,72.73,34.875), (70.93,35.275,71.13,35.475), (71.73,35.875,71.93,36.075), (79.03,36.53,79.23,36.73), (72.53,41.23,72.73,41.43), (67.73,41.83,67.93,42.03), (73.33,42.43,73.53,42.63), (70.93,43.03,71.13,43.23), (74.13,43.63,74.33,43.83), (70.13,44.23,70.33,44.43), (74.93,44.83,75.13,45.03), (69.33,45.43,69.53,45.63), (75.73,46.03,75.93,46.23), (79.03,46.685,79.23,46.885), (68.53,54.165,68.73,54.365), (76.53,54.765,76.73,54.965), (79.03,55.42,79.23,55.62), (76.53,62.9,76.73,63.1), (68.53,63.5,68.73,63.7)])
R(idac_universal, met3_5, [(72.53,41.23,72.73,41.43), (67.73,41.83,67.93,42.03), (70.93,43.03,71.13,43.23), (70.13,44.23,70.33,44.43), (69.33,45.43,69.53,45.63), (68.53,63.5,68.73,63.7)])
R(idac_universal, met3_pin, [(77.63,16.97,77.83,17.17), (71.73,35.875,71.93,36.075), (73.33,42.43,73.53,42.63), (74.13,43.63,74.33,43.83), (74.93,44.83,75.13,45.03), (75.73,46.03,75.93,46.23), (79.03,55.42,79.23,55.62), (76.53,62.9,76.73,63.1)])
A(idac_universal, met3, 73.23, 0.4, 0.4, 63.4, 5, 1, 0.8, 0)
R(idac_universal, met3, [(71.63,0.4,72.03,63.8), (77.23,0.4,78.23,63.8), (78.63,0.4,79.63,63.8), (67.63,4.835,68.03,42.13), (68.43,10.525,68.83,63.8), (69.23,26.44,69.63,45.73), (70.03,27.04,70.43,44.53), (70.83,27.64,71.23,43.33), (72.43,34.575,72.83,41.53)])
R(idac_universal, nsdm, [(1.175,1.07,30.875,4.32), (1.175,6.16,52.745,9.41), (1.175,11.85,52.745,15.1), (1.175,17.54,30.875,20.79), (-0.125,21.89,66.155,22.43), (-0.125,28.825,66.155,29.365), (-0.125,36.36,6.645,36.9), (-0.125,46.515,46.785,47.055), (-0.125,55.25,46.785,55.79)])
A(idac_universal, psdm, -0.125, 37.1, 0.98, 3.25, 4, 1, 1.73, 0)
R(idac_universal, psdm, [(-0.125,0.33,33.075,0.87), (-0.125,5.42,54.945,5.96), (-0.125,11.11,54.945,11.65), (-0.125,16.8,33.075,17.34), (1.175,22.63,63.955,25.88), (1.175,29.565,63.955,32.815), (1.175,47.255,44.585,53.505), (1.175,55.99,44.585,62.24)])
A(idac_universal, npc, 1.675, 4.285, 6.83, 0.37, 4, 2, 7.29, 16.47)
A(idac_universal, npc, 1.675, 9.375, 6.83, 0.37, 7, 2, 7.29, 5.69)
A(idac_universal, npc, 1.675, 25.89, 6.83, 0.37, 8, 2, 7.85, 6.935)
A(idac_universal, npc, 0.18, 40.36, 0.37, 0.37, 4, 1, 1.73, 0)
A(idac_universal, npc, 1.605, 53.515, 13.97, 0.37, 3, 2, 14.29, 8.735)
idac_universal.add(gdstk.Label('net1', (69.43,45.53), layer=70, texttype=5))
idac_universal.add(gdstk.Label('net2', (72.63,41.33), layer=70, texttype=5))
idac_universal.add(gdstk.Label('net3', (71.03,43.13), layer=70, texttype=5))
idac_universal.add(gdstk.Label('net4', (70.23,44.33), layer=70, texttype=5))
idac_universal.add(gdstk.Label('net5', (67.83,41.93), layer=70, texttype=5))
idac_universal.add(gdstk.Label('net6', (68.63,63.6), layer=70, texttype=5))
idac_universal.add(gdstk.Label('VDD', (79.13,55.52), layer=70, texttype=5))
idac_universal.add(gdstk.Label('b1', (74.23,43.73), layer=70, texttype=5))
idac_universal.add(gdstk.Label('b3', (75.83,46.13), layer=70, texttype=5))
idac_universal.add(gdstk.Label('b2', (75.03,44.93), layer=70, texttype=5))
idac_universal.add(gdstk.Label('b0', (73.43,42.53), layer=70, texttype=5))
idac_universal.add(gdstk.Label('Vbranch', (71.83,35.975), layer=70, texttype=5))
idac_universal.add(gdstk.Label('GND', (77.73,17.07), layer=70, texttype=5))
idac_universal.add(gdstk.Label('out', (76.63,63), layer=70, texttype=5))

lib.write_gds('idac_universal.gds')
